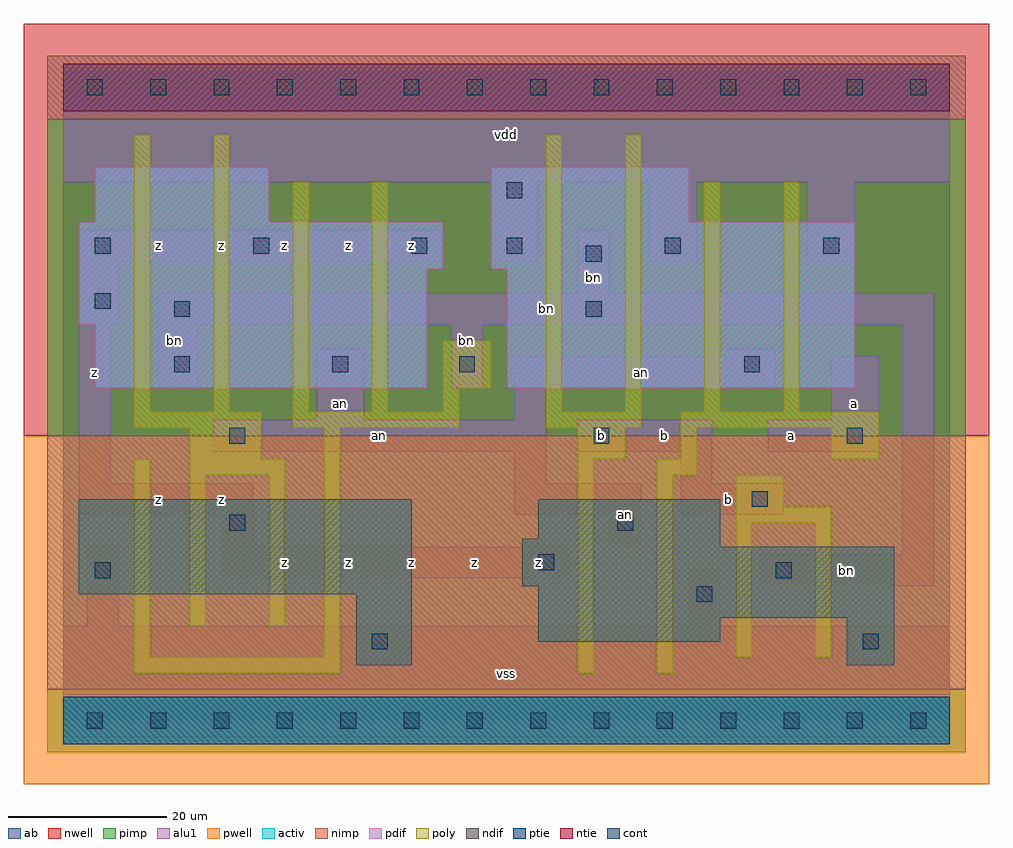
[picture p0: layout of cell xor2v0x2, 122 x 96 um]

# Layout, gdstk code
import gdstk
lib = gdstk.Library(unit=1e-6, precision=1e-09)
def R(c, l, rs):  # rectangles x0, y0, x1, y1
    for r in rs: c.add(gdstk.rectangle(r[:2], r[2:], *l))
def A(c, l, x, y, w, h, nx, ny, dx, dy):  # array of equal rectangles
    R(c, l, [(x+i*dx, y+j*dy, x+i*dx+w, y+j*dy+h) for i in range(nx) for j in range(ny)])
ndif = (3, 0)
pdif = (4, 0)
ntie = (5, 0)
ptie = (6, 0)
cont = (25, 0)
pwell = (41, 0)
nwell = (42, 0)
activ = (43, 0)
pimp = (44, 0)
nimp = (45, 0)
poly = (46, 0)
alu1 = (49, 0)
ab = (63, 0)

xor2v0x2 = lib.new_cell('xor2v0x2')
R(xor2v0x2, ndif, [(37,7,44,16), (99,7,105,13), (60,10,83,13), (60,13,105,17), (2,16,44,28), (58,17,105,22), (58,22,83,23), (60,23,83,28)])
R(xor2v0x2, pdif, [(4,42,46,50), (56,42,100,57), (2,50,46,57), (2,57,48,63), (54,57,100,63), (4,63,26,70), (54,63,79,70)])
R(xor2v0x2, ntie, [(0,77,112,83)])
R(xor2v0x2, ptie, [(0,-3,112,3)])
A(xor2v0x2, cont, 3, -1, 2, 2, 14, 2, 8, 80)
A(xor2v0x2, cont, 4, 59, 2, 2, 3, 1, 20, 0)
A(xor2v0x2, cont, 56, 59, 2, 2, 3, 1, 20, 0)
R(xor2v0x2, cont, [(39,9,41,11), (101,9,103,11), (80,15,82,17), (4,18,6,20), (90,18,92,20), (60,19,62,21), (21,24,23,26), (70,24,72,26), (87,27,89,29), (21,35,23,37), (67,35,69,37), (99,35,101,37), (14,44,16,46), (34,44,36,46), (50,44,52,46), (86,44,88,46), (14,51,16,53), (66,51,68,53), (4,52,6,54), (66,58,68,60), (56,66,58,68)])
R(xor2v0x2, pwell, [(-5,-8,117,36)])
R(xor2v0x2, nwell, [(-5,36,117,88)])
R(xor2v0x2, activ, [(0,-3,112,3), (37,7,44,16), (99,7,105,13), (60,10,83,13), (60,13,105,17), (2,16,44,28), (58,17,105,22), (58,22,83,23), (60,23,83,28), (4,42,46,50), (56,42,100,57), (2,50,46,57), (2,57,48,63), (54,57,100,63), (4,63,26,70), (54,63,79,70), (0,77,112,83)])
R(xor2v0x2, pimp, [(-2,-4,114,4), (-2,36,114,76)])
R(xor2v0x2, nimp, [(-2,4,114,36), (-2,76,114,84)])
R(xor2v0x2, poly, [(9,6,35,8), (65,6,67,33), (75,6,77,31), (9,8,11,33), (33,8,35,37), (85,8,87,25), (95,8,97,25), (16,12,18,31), (26,12,28,31), (85,25,97,27), (85,27,91,31), (16,31,28,33), (75,31,80,33), (16,33,25,37), (65,33,71,37), (78,33,80,37), (97,33,103,37), (9,37,25,39), (29,37,50,39), (61,37,73,39), (78,37,103,39), (9,39,11,74), (19,39,21,74), (29,39,31,68), (39,39,41,68), (48,39,50,42), (61,39,63,74), (71,39,73,74), (81,39,83,68), (91,39,93,68), (48,42,54,48)])
A(xor2v0x2, alu1, 54, 58, 6, 10, 3, 1, 20, 0)
R(xor2v0x2, alu1, [(0,-2,112,12), (3,12,7,22), (79,12,83,19), (88,17,110,21), (20,18,64,22), (106,21,110,50), (20,22,24,26), (69,22,73,26), (2,26,24,30), (57,26,73,30), (78,26,91,30), (2,30,6,50), (57,30,61,34), (78,30,82,34), (19,34,61,38), (65,34,82,38), (89,34,103,38), (32,38,38,47), (57,38,61,42), (97,38,103,46), (12,42,17,50), (49,42,53,50), (57,42,90,46), (84,46,90,47), (2,50,7,58), (12,50,110,54), (65,54,69,62), (2,58,48,62), (0,68,112,82)])
R(xor2v0x2, ab, [(0,0,112,80)])
xor2v0x2.add(gdstk.Label('bn', (14,48), layer=49, texttype=0))
xor2v0x2.add(gdstk.Label('bn', (51,48), layer=49, texttype=0))
xor2v0x2.add(gdstk.Label('an', (35,40), layer=49, texttype=0))
xor2v0x2.add(gdstk.Label('an', (40,36), layer=49, texttype=0))
xor2v0x2.add(gdstk.Label('an', (71,26), layer=49, texttype=0))
xor2v0x2.add(gdstk.Label('bn', (67,56), layer=49, texttype=0))
xor2v0x2.add(gdstk.Label('bn', (99,19), layer=49, texttype=0))
xor2v0x2.add(gdstk.Label('an', (73,44), layer=49, texttype=0))
xor2v0x2.add(gdstk.Label('bn', (61,52), layer=49, texttype=0))
xor2v0x2.add(gdstk.Label('z', (20,28), layer=49, texttype=0))
xor2v0x2.add(gdstk.Label('z', (12,28), layer=49, texttype=0))
xor2v0x2.add(gdstk.Label('z', (4,44), layer=49, texttype=0))
xor2v0x2.add(gdstk.Label('z', (12,60), layer=49, texttype=0))
xor2v0x2.add(gdstk.Label('z', (20,60), layer=49, texttype=0))
xor2v0x2.add(gdstk.Label('z', (36,20), layer=49, texttype=0))
xor2v0x2.add(gdstk.Label('z', (44,20), layer=49, texttype=0))
xor2v0x2.add(gdstk.Label('z', (52,20), layer=49, texttype=0))
xor2v0x2.add(gdstk.Label('z', (28,20), layer=49, texttype=0))
xor2v0x2.add(gdstk.Label('z', (36,60), layer=49, texttype=0))
xor2v0x2.add(gdstk.Label('z', (44,60), layer=49, texttype=0))
xor2v0x2.add(gdstk.Label('z', (28,60), layer=49, texttype=0))
xor2v0x2.add(gdstk.Label('vss', (56,6), layer=49, texttype=0))
xor2v0x2.add(gdstk.Label('z', (60,20), layer=49, texttype=0))
xor2v0x2.add(gdstk.Label('b', (76,36), layer=49, texttype=0))
xor2v0x2.add(gdstk.Label('b', (68,36), layer=49, texttype=0))
xor2v0x2.add(gdstk.Label('vdd', (56,74), layer=49, texttype=0))
xor2v0x2.add(gdstk.Label('b', (84,28), layer=49, texttype=0))
xor2v0x2.add(gdstk.Label('a', (92,36), layer=49, texttype=0))
xor2v0x2.add(gdstk.Label('a', (100,40), layer=49, texttype=0))

lib.write_gds('xor2v0x2.gds')
